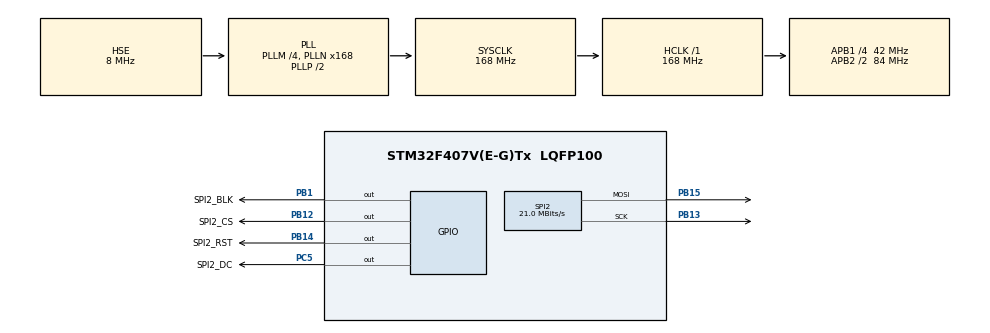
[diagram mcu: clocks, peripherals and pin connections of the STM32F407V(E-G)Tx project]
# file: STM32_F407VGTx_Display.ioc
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Mcu.Family=STM32F4
Mcu.Name=STM32F407V(E-G)Tx
Mcu.Package=LQFP100
NVIC.PriorityGroup=NVIC_PRIORITYGROUP_4
PA13.Mode=Trace_Asynchronous_SW
PA13.Signal=SYS_JTMS-SWDIO
PA14.Mode=Trace_Asynchronous_SW
PA14.Signal=SYS_JTCK-SWCLK
PB1.GPIO_Label=SPI2_BLK
PB1.GPIO_Speed=GPIO_SPEED_FREQ_LOW
PB1.Signal=GPIO_Output
PB12.GPIO_Label=SPI2_CS
PB12.GPIO_Speed=GPIO_SPEED_FREQ_LOW
PB12.PinState=GPIO_PIN_RESET
PB12.Signal=GPIO_Output
PB13.Mode=TX_Only_Simplex_Unidirect_Master
PB13.Signal=SPI2_SCK
PB14.GPIO_Label=SPI2_RST
PB14.GPIO_Speed=GPIO_SPEED_FREQ_LOW
PB14.Signal=GPIO_Output
PB15.Mode=TX_Only_Simplex_Unidirect_Master
PB15.Signal=SPI2_MOSI
PB3.Mode=Trace_Asynchronous_SW
PB3.Signal=SYS_JTDO-SWO
PC5.GPIO_Label=SPI2_DC
PC5.GPIO_Speed=GPIO_SPEED_FREQ_LOW
PC5.Signal=GPIO_Output
PH0-OSC_IN.Mode=HSE-External-Oscillator
PH0-OSC_IN.Signal=RCC_OSC_IN
PH1-OSC_OUT.Mode=HSE-External-Oscillator
PH1-OSC_OUT.Signal=RCC_OSC_OUT
ProjectManager.HeapSize=0x200
ProjectManager.StackSize=0x400
ProjectManager.TargetToolchain=MDK-ARM V5
RCC.48MHZClocksFreq_Value=84000000
RCC.AHBFreq_Value=168000000
RCC.APB1CLKDivider=RCC_HCLK_DIV4
RCC.APB1Freq_Value=42000000
RCC.APB1TimFreq_Value=84000000
RCC.APB2CLKDivider=RCC_HCLK_DIV2
RCC.APB2Freq_Value=84000000
RCC.APB2TimFreq_Value=168000000
RCC.CortexFreq_Value=168000000
RCC.HCLKFreq_Value=168000000
RCC.HSE_VALUE=8000000
RCC.HSI_VALUE=16000000
RCC.LSE_VALUE=32768
RCC.PLLM=4
RCC.PLLN=168
RCC.PLLSourceVirtual=RCC_PLLSOURCE_HSE
RCC.SYSCLKFreq_VALUE=168000000
RCC.SYSCLKSource=RCC_SYSCLKSOURCE_PLLCLK
RCC.VCOOutputFreq_Value=336000000
SPI2.BaudRatePrescaler=SPI_BAUDRATEPRESCALER_2
SPI2.CLKPhase=SPI_PHASE_2EDGE
SPI2.CLKPolarity=SPI_POLARITY_HIGH
SPI2.CalculateBaudRate=21.0 MBits/s
SPI2.Direction=SPI_DIRECTION_2LINES
SPI2.Mode=SPI_MODE_MASTER
SPI2.VirtualType=VM_MASTER
board=custom

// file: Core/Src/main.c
/* USER CODE BEGIN Header */
/**
  ******************************************************************************
  * @file           : main.c
  * @brief          : Main program body
  ******************************************************************************
  * @attention
  *
  * <h2><center>&copy; Copyright (c) 2020 STMicroelectronics.
  * All rights reserved.</center></h2>
  *
  * This software component is licensed by ST under BSD 3-Clause license,
  * the "License"; You may not use this file except in compliance with the
  * License. You may obtain a copy of the License at:
  *                        opensource.org/licenses/BSD-3-Clause
  *
  ******************************************************************************
  */
/* USER CODE END Header */
#include "main.h"

/* USER CODE BEGIN Includes */

////////////////////////////////////////////////////////////////////////////////////////////////////////

#include <ST7789.h>

#include "bitmap.h"
#include "fonts.h"

////////////////////////////////////////////////////////////////////////////////////////////////////////

/* USER CODE END Includes */

SPI_HandleTypeDef hspi2;

void SystemClock_Config(void);
static void MX_GPIO_Init(void);
static void MX_SPI2_Init(void);

int main(void)
{

  /* MCU Configuration--------------------------------------------------------*/

  /* Reset of all peripherals, Initializes the Flash interface and the Systick. */
  HAL_Init();

  /* Configure the system clock */
  SystemClock_Config();

  /* Initialize all configured peripherals */
  MX_GPIO_Init();
  MX_SPI2_Init();
  /* USER CODE BEGIN 2 */

/////////////////////////////////////////////////////////////////////////////////////////////////////

	// Процедура инициализации дисплея ST7789 240x240 1.3"
	ST7789_Init();

	// включаем подсветку дисплея
	HAL_GPIO_WritePin( GPIOB, GPIO_PIN_1, GPIO_PIN_SET );

	// установка ротации дисплея не обязательно так как по умолчанию стоит режим 1 ( всего 4 режима 1,2,3,4 )
	ST7789_rotation( 1 );

	// закрашиваем весь экран указаным цветом
	ST7789_FillScreen( RGB565(0, 10, 100) );

	// печатаем символ ( один ) параметры: х,  у,  цвет символа, цвет фона, вкл/выкл фон, размер шрифта, множитель шрифта (увеличивает в х раз шрифт ), сам символ
	// ST7789_DrawChar( 20, 20, RGB565( 255, 255, 255 ) , RGB565( 0, 10, 10 ) , 0, &Font_16x26, 3, 'F' );

	// печатаем строку параметры: х,  у,  цвет строки, цвет фона, вкл/выкл фон, размер шрифта, множитель шрифта (увеличивает в х раз шрифт ), сама строка
	// для кирилицы используем функцию utf8rus, если только латиница то можно без нее
	ST7789_print( 5, 20, RGB565(255, 255, 255) , RGB565(0, 10, 100) , 1, &Font_16x26, 1, utf8rus("STM32F407V IPS") );
	// незабываем каждый раз после вызова функции utf8rus() освобождать память
	// free( pText );	// освобождаем память выделенную в функции utf8rus() посредством malloc();
	free( pText );

	// печатаем строку параметры: х,  у,  цвет строки, цвет фона, вкл/выкл фон, размер шрифта, множитель шрифта (увеличивает в х раз шрифт ), сама строка
	// для кирилицы используем функцию utf8rus, если только латиница то можно без нее
	ST7789_print( 25, 160, RGB565(255, 0, 0) , RGB565(0, 10, 100) , 1, &Font_11x18, 1, utf8rus("NR.electronics !!!") );
	// незабываем каждый раз после вызова функции utf8rus() освобождать память
	// free( pText );	// освобождаем память выделенную в функции utf8rus() посредством malloc();
	free( pText );

	// печатаем строку параметры: х,  у,  цвет строки, цвет фона, вкл/выкл фон, размер шрифта, множитель шрифта (увеличивает в х раз шрифт ), сама строка
	// для кирилицы используем функцию utf8rus, если только латиница то можно без нее
	ST7789_print( 8, 200, RGB565(0, 255, 0) , RGB565(0, 10, 100) , 1, &Font_7x9, 2, utf8rus("ST7789:240x240 p.") );
	// незабываем каждый раз после вызова функции utf8rus() освобождать память
	// free( pText );	// освобождаем память выделенную в функции utf8rus() посредством malloc();
	free( pText );

	// очистка экрана - закрашивает экран цветом черный
	// ST7789_Clear();

	// рисуем монохромную иконку. параметры координаты х и у, имя иконки ( массив ), размер иконки шир и выс, цвет отображения
	// ST7789_DrawBitmap( 60, 120, logo, 128, 27, RGB565(255, 0, 0) );

	// рисуем цветную иконку. параметры координаты х и у, размер иконки шир и выс, имя иконки ( массив )
	ST7789_DrawImage( 80, 65, 85, 80, logoRGB );

	// круг пустотелый
	//ST7789_DrawCircle(100, 100, 50, RGB565(255, 0, 255));

	// круг закрашеный
	//ST7789_DrawCircleFilled(200, 200, 20, RGB565(255, 40, 255)) ;

	// линия
	ST7789_DrawLine(1, 238, 239, 238, RGB565(255, 255, 0));

	// прямоугольник закрашеный
	//ST7789_DrawRectangleFilled(70, 200, 100, 20, RGB565(0, 255, 0)) ;

	// прямоугольник пустотелый
	//ST7789_DrawRectangle(70, 200, 100, 20, RGB565(0, 255, 50)) ;

	// рисуем треугольник пустотелый
	//ST7789_DrawTriangle(20, 40, 150, 100, 200, 200, RGB565(100, 255, 150) );

	// рисуем треугольник закрашеный
	//ST7789_DrawFilledTriangle(20, 40, 150, 100, 200, 200, RGB565(100, 255, 150) );

	// переход в спящий режим
	//ST7789_SleepModeEnter();

	// выход их спящего режима
	//ST7789_SleepModeExit();

	// вкл/выкл дисплея 0-выкл 1- вкл
	//ST7789_DisplayPower( 1 );

	// инверсия цветов 0-вкл  1-выкл
	//ST7789_InversionMode(1);

///////////////////////////////////////////////////////////////////////////////////////////////////

  /* USER CODE END 2 */

  /* Infinite loop */
  while (1)
  {

  }
}

void SystemClock_Config(void)
{
  RCC_OscInitTypeDef RCC_OscInitStruct = {0};
  RCC_ClkInitTypeDef RCC_ClkInitStruct = {0};

  /** Configure the main internal regulator output voltage
  */
  __HAL_RCC_PWR_CLK_ENABLE();
  __HAL_PWR_VOLTAGESCALING_CONFIG(PWR_REGULATOR_VOLTAGE_SCALE1);
  /** Initializes the RCC Oscillators according to the specified parameters
  * in the RCC_OscInitTypeDef structure.
  */
  RCC_OscInitStruct.OscillatorType = RCC_OSCILLATORTYPE_HSE;
  RCC_OscInitStruct.HSEState = RCC_HSE_ON;
  RCC_OscInitStruct.PLL.PLLState = RCC_PLL_ON;
  RCC_OscInitStruct.PLL.PLLSource = RCC_PLLSOURCE_HSE;
  RCC_OscInitStruct.PLL.PLLM = 4;
  RCC_OscInitStruct.PLL.PLLN = 168;
  RCC_OscInitStruct.PLL.PLLP = RCC_PLLP_DIV2;
  RCC_OscInitStruct.PLL.PLLQ = 4;
  if (HAL_RCC_OscConfig(&RCC_OscInitStruct) != HAL_OK)
  {
    Error_Handler();
  }
  /** Initializes the CPU, AHB and APB buses clocks
  */
  RCC_ClkInitStruct.ClockType = RCC_CLOCKTYPE_HCLK|RCC_CLOCKTYPE_SYSCLK
                              |RCC_CLOCKTYPE_PCLK1|RCC_CLOCKTYPE_PCLK2;
  RCC_ClkInitStruct.SYSCLKSource = RCC_SYSCLKSOURCE_PLLCLK;
  RCC_ClkInitStruct.AHBCLKDivider = RCC_SYSCLK_DIV1;
  RCC_ClkInitStruct.APB1CLKDivider = RCC_HCLK_DIV4;
  RCC_ClkInitStruct.APB2CLKDivider = RCC_HCLK_DIV2;

  if (HAL_RCC_ClockConfig(&RCC_ClkInitStruct, FLASH_LATENCY_5) != HAL_OK)
  {
    Error_Handler();
  }
}

static void MX_SPI2_Init(void)
{

  /* SPI2 parameter configuration*/
  hspi2.Instance = SPI2;
  hspi2.Init.Mode = SPI_MODE_MASTER;
  hspi2.Init.Direction = SPI_DIRECTION_2LINES;
  hspi2.Init.DataSize = SPI_DATASIZE_8BIT;
  hspi2.Init.CLKPolarity = SPI_POLARITY_HIGH;
  hspi2.Init.CLKPhase = SPI_PHASE_2EDGE;
  hspi2.Init.NSS = SPI_NSS_SOFT;
  hspi2.Init.BaudRatePrescaler = SPI_BAUDRATEPRESCALER_2;
  hspi2.Init.FirstBit = SPI_FIRSTBIT_MSB;
  hspi2.Init.TIMode = SPI_TIMODE_DISABLE;
  hspi2.Init.CRCCalculation = SPI_CRCCALCULATION_DISABLE;
  hspi2.Init.CRCPolynomial = 10;
  if (HAL_SPI_Init(&hspi2) != HAL_OK)
  {
    Error_Handler();
  }

}

static void MX_GPIO_Init(void)
{
  GPIO_InitTypeDef GPIO_InitStruct = {0};

  /* GPIO Ports Clock Enable */
  __HAL_RCC_GPIOH_CLK_ENABLE();
  __HAL_RCC_GPIOC_CLK_ENABLE();
  __HAL_RCC_GPIOB_CLK_ENABLE();
  __HAL_RCC_GPIOA_CLK_ENABLE();

  /*Configure GPIO pin Output Level */
  HAL_GPIO_WritePin(SPI2_DC_GPIO_Port, SPI2_DC_Pin, GPIO_PIN_RESET);

  /*Configure GPIO pin Output Level */
  HAL_GPIO_WritePin(GPIOB, SPI2_BLK_Pin|SPI2_CS_Pin|SPI2_RST_Pin, GPIO_PIN_RESET);

  /*Configure GPIO pin : SPI2_DC_Pin */
  GPIO_InitStruct.Pin = SPI2_DC_Pin;
  GPIO_InitStruct.Mode = GPIO_MODE_OUTPUT_PP;
  GPIO_InitStruct.Pull = GPIO_NOPULL;
  GPIO_InitStruct.Speed = GPIO_SPEED_FREQ_LOW;
  HAL_GPIO_Init(SPI2_DC_GPIO_Port, &GPIO_InitStruct);

  /*Configure GPIO pins : SPI2_BLK_Pin SPI2_CS_Pin SPI2_RST_Pin */
  GPIO_InitStruct.Pin = SPI2_BLK_Pin|SPI2_CS_Pin|SPI2_RST_Pin;
  GPIO_InitStruct.Mode = GPIO_MODE_OUTPUT_PP;
  GPIO_InitStruct.Pull = GPIO_NOPULL;
  GPIO_InitStruct.Speed = GPIO_SPEED_FREQ_LOW;
  HAL_GPIO_Init(GPIOB, &GPIO_InitStruct);

}

void Error_Handler(void)
{
}

/************************ (C) COPYRIGHT STMicroelectronics *****END OF FILE****/
